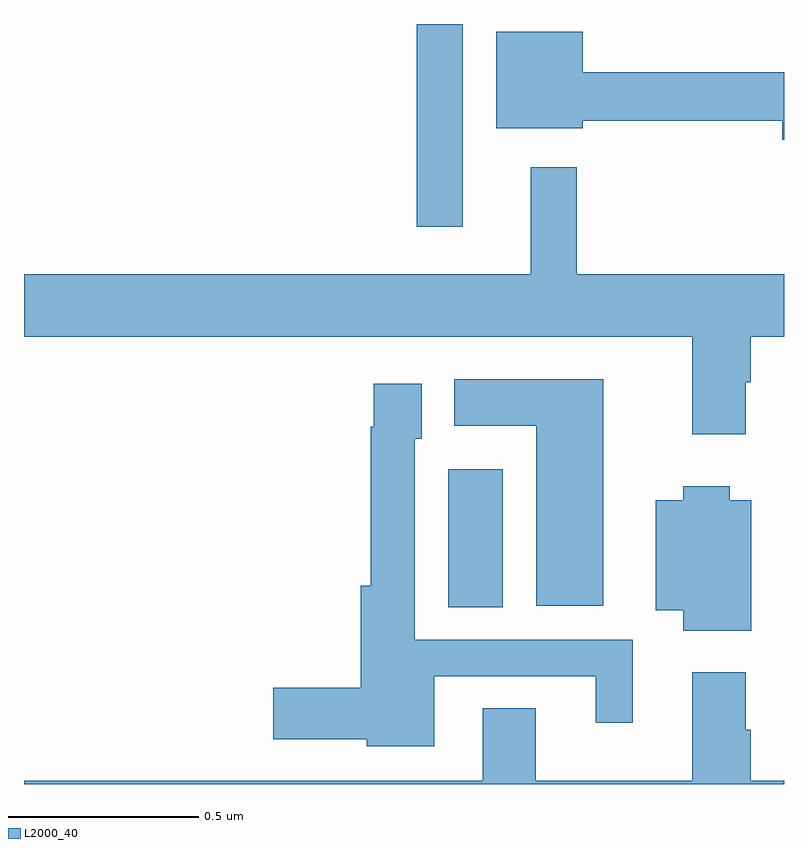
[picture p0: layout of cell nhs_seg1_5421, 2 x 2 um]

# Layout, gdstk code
import gdstk
lib = gdstk.Library(unit=1e-6, precision=1e-09)
def R(c, l, rs):  # rectangles x0, y0, x1, y1
    for r in rs: c.add(gdstk.rectangle(r[:2], r[2:], *l))
def P(c, l, *ps):  # polygons
    for p in ps: c.add(gdstk.Polygon(p, *l))
L2000_40 = (2000, 40)

nhs_seg1_5421 = lib.new_cell('nhs_seg1_5421')
R(nhs_seg1_5421, L2000_40, [(179.117,573.664,179.26,574.027), (179.034,574.665,179.155,575.199)])
P(nhs_seg1_5421, L2000_40, [(180,575.072),(179.47,575.072),(179.47,575.179),(179.243,575.179),(179.243,574.925),(179.47,574.925),(179.47,574.944),(179.996,574.944),(179.996,574.894),(180,574.894)],
  [(179.899,574.256),(179.912,574.256),(179.912,574.376),(180,574.376),(180,574.54),(179.455,574.54),(179.455,574.822),(179.333,574.822),(179.333,574.54),(178,574.54),(178,574.376),(179.759,574.376),(179.759,574.119),(179.899,574.119)],
  [(179.524,574.264),(179.132,574.264),(179.132,574.142),(179.348,574.142),(179.348,573.668),(179.524,573.668)],
  [(179.08,573.483),(179.504,573.483),(179.504,573.36),(179.602,573.36),(179.602,573.579),(179.028,573.579),(179.028,574.107),(179.047,574.107),(179.047,574.252),(178.92,574.252),(178.92,574.139),(178.912,574.139),(178.912,573.721),(178.886,573.721),(178.886,573.452),(178.656,573.452),(178.656,573.317),(178.902,573.317),(178.902,573.299),(179.08,573.299)],
  [(179.914,573.946),(179.857,573.946),(179.857,573.982),(179.735,573.982),(179.735,573.946),(179.663,573.946),(179.663,573.656),(179.735,573.656),(179.735,573.602),(179.914,573.602)],
  [(180,573.208),(179.912,573.208),(179.912,573.342),(179.899,573.342),(179.899,573.493),(179.759,573.493),(179.759,573.208),(179.347,573.208),(179.347,573.398),(179.207,573.398),(179.207,573.208),(178,573.208),(178,573.199),(180,573.199)])

lib.write_gds('nhs_seg1_5421.gds')
